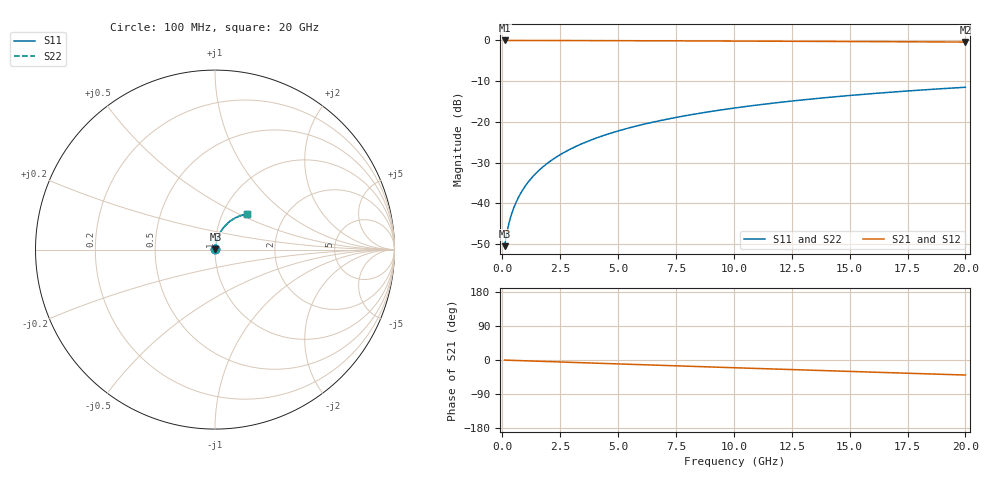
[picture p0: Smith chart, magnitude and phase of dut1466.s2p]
! Touchstone file exported from HFSS 2026.1.0
!  File:  C:/ffzhzh/LocalFiles/Ansys_Project_Files/temp_train_BSMRDL_1466_1783180982_51560.aedt
!  Generated:  12:04:13 AM Jul  5, 2026
!  Design:  BSMRDL
!  Project:  temp_train_BSMRDL_1466_1783180982_51560
! Variables:
!  h_bsmrdl = 3.86um
!  h_ox = 20um
!  h_rdl = 5um
!  h_sub = 80um
!  h_tmrdl = 5um
!  h_tsv = 80um
!  h_via = 3um
!  l_bsmrdl = 626.87um
!  l_sub = 1026.87um
!  l_tmrdl = 200um
!  m_sub = 200um
!  pitch = 45.94um
!  r_tsv = 6um
!  s_tmrdl = 10um
!  w_bsmrdl = 28.26um
!  w_sub = 500um
!  w_tmrdl = 12um
!  x_tsv_center1 = 206um
!  x_tsv_center2 = 861.13um
!  x_tsv_center3 = 1073.13um
!  x_tsv_center4 = 1728.26um
!  x_tsv_center5 = 1940.26um
!  x_tsv_center6 = 2595.39um
# GHz S MA R 50.000000
! Terminal data exported
! Port[1] = BSM_RDL1_1_T1
! Port[2] = BSM_RDL1_1_T2
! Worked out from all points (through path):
!   200 points, 100 MHz to 20 GHz, reference 50 ohm
!   highest |S21| = -0.02 dB at 100 MHz (marker M1); lowest = -0.4 dB at 20 GHz (marker M2)
!   group delay of S21, straight-line fit = 5.5 ps
!   lowest |S11| = -50.5 dB at 100 MHz (marker M3), VSWR 1.01, Z = 50.2 + j0.188 ohm
!   |S11| at or under -10 dB: start of sweep to end of sweep
!   |S22| runs from -50.5 to -11.5 dB; largest |S21 - S12| = 4.9e-15
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0.1  0.002973 39.0  0.9977 -0.2  0.9977 -0.2  0.002973 39.0
! Gamma 0 0 0 0
! Port Impedance 50 0 50 0
0.2  0.004409 54.8  0.9975 -0.4  0.9975 -0.4  0.004408 54.8
0.3  0.005903 62.0  0.9973 -0.7  0.9973 -0.7  0.005903 62.0
0.4  0.007382 66.3  0.9971 -0.9  0.9971 -0.9  0.007381 66.3
0.5  0.008857 69.3  0.997 -1.1  0.997 -1.1  0.008856 69.3
0.6  0.01034 71.6  0.9969 -1.3  0.9969 -1.3  0.01034 71.6
0.8  0.01334 74.6  0.9968 -1.7  0.9968 -1.7  0.01334 74.6
1.1  0.0179 77.1  0.9966 -2.3  0.9966 -2.3  0.0179 77.1
1.3  0.02098 78.1  0.9965 -2.7  0.9965 -2.7  0.02098 78.1
1.6  0.0256 78.9  0.9963 -3.4  0.9963 -3.4  0.0256 78.9
2.1  0.03332 79.3  0.9958 -4.4  0.9958 -4.4  0.03332 79.3
2.7  0.04256 79.0  0.9952 -5.6  0.9952 -5.6  0.04256 79.0
3.5  0.05476 78.1  0.9941 -7.3  0.9941 -7.3  0.05476 78.1
4.2  0.06531 77.0  0.9931 -8.7  0.9931 -8.7  0.0653 77.1
5  0.07719 75.7  0.9917 -10.4  0.9917 -10.4  0.07719 75.7
5.9  0.09034 74.1  0.99 -12.2  0.99 -12.2  0.09034 74.1
6.8  0.1033 72.4  0.9882 -14.0  0.9882 -14.0  0.1033 72.4
8.3  0.1243 69.7  0.985 -17.0  0.985 -17.0  0.1243 69.7
10.1  0.1487 66.3  0.9808 -20.6  0.9808 -20.6  0.1487 66.3
13.4  0.1911 60.2  0.9723 -27.1  0.9723 -27.1  0.1911 60.2
16.7  0.2302 54.1  0.963 -33.4  0.963 -33.4  0.2302 54.1
20  0.2656 48.1  0.9533 -39.7  0.9533 -39.7  0.2656 48.1
